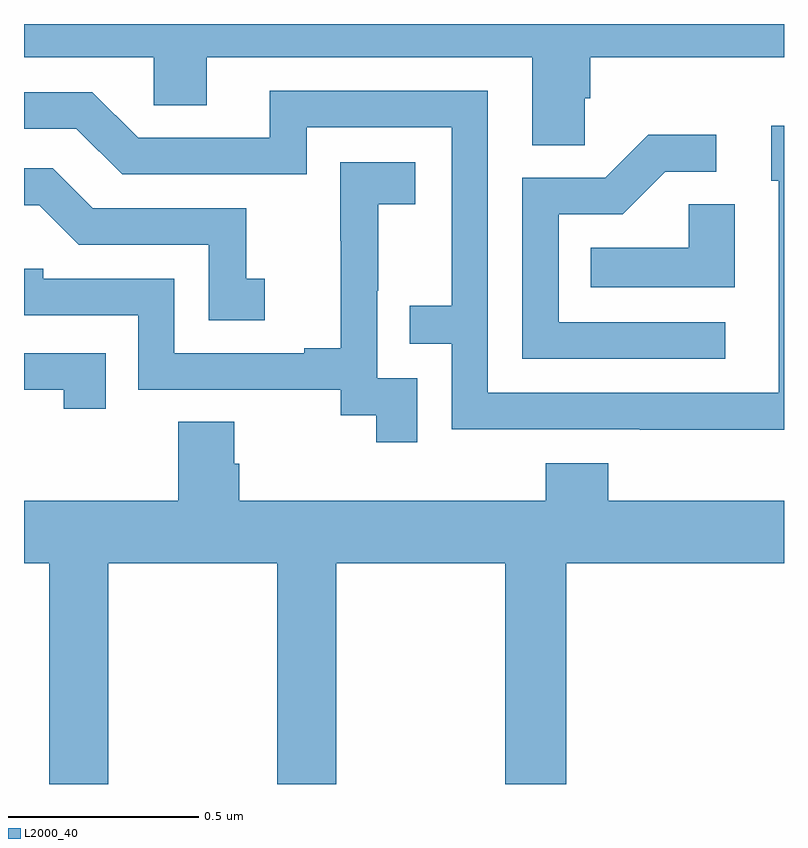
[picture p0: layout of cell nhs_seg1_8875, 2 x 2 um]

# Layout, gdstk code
import gdstk
lib = gdstk.Library(unit=1e-6, precision=1e-09)
def P(c, l, *ps):  # polygons
    for p in ps: c.add(gdstk.Polygon(p, *l))
L2000_40 = (2000, 40)

nhs_seg1_8875 = lib.new_cell('nhs_seg1_8875')
P(nhs_seg1_8875, L2000_40, [(222,505.112),(222.342,505.112),(222.342,504.985),(222.481,504.985),(222.481,505.112),(223.337,505.112),(223.337,504.88),(223.476,504.88),(223.476,505.003),(223.49,505.003),(223.49,505.112),(224,505.112),(224,505.199),(222,505.199)],
  [(224,504.931),(223.967,504.931),(223.967,504.786),(223.986,504.786),(223.986,504.228),(223.221,504.228),(223.221,505.023),(222.647,505.023),(222.647,504.9),(222.3,504.9),(222.18,505.02),(222,505.02),(222,504.924),(222.138,504.924),(222.258,504.804),(222.744,504.804),(222.744,504.927),(223.125,504.927),(223.125,504.458),(223.015,504.458),(223.015,504.357),(223.125,504.357),(223.125,504.132),(223.621,504.132),(223.621,504.131),(224,504.131)],
  [(223.846,504.414),(223.407,504.414),(223.407,504.699),(223.576,504.699),(223.687,504.81),(223.822,504.81),(223.822,504.908),(223.643,504.908),(223.53,504.795),(223.311,504.795),(223.311,504.318),(223.846,504.318)],
  [(223.035,504.267),(222.93,504.267),(222.93,504.497),(222.932,504.497),(222.932,504.725),(223.03,504.725),(223.03,504.835),(222.832,504.835),(222.832,504.629),(222.833,504.629),(222.833,504.346),(222.737,504.346),(222.737,504.333),(222.396,504.333),(222.396,504.528),(222.051,504.528),(222.051,504.555),(222,504.555),(222,504.432),(222.3,504.432),(222.3,504.237),(222.834,504.237),(222.834,504.169),(222.927,504.169),(222.927,504.099),(223.035,504.099)],
  [(222.634,504.529),(222.585,504.529),(222.585,504.714),(222.181,504.714),(222.076,504.819),(222,504.819),(222,504.722),(222.04,504.722),(222.144,504.618),(222.486,504.618),(222.486,504.42),(222.634,504.42)],
  [(223.87,504.725),(223.749,504.725),(223.749,504.61),(223.492,504.61),(223.492,504.506),(223.87,504.506)],
  [(222.215,504.333),(222,504.333),(222,504.237),(222.104,504.237),(222.104,504.186),(222.215,504.186)],
  [(222.222,503.78),(222.667,503.78),(222.667,503.199),(222.822,503.199),(222.822,503.78),(223.267,503.78),(223.267,503.199),(223.427,503.199),(223.427,503.78),(224,503.78),(224,503.944),(223.538,503.944),(223.538,504.043),(223.373,504.043),(223.373,503.944),(222.566,503.944),(222.566,504.042),(222.553,504.042),(222.553,504.152),(222.406,504.152),(222.406,503.944),(222,503.944),(222,503.78),(222.067,503.78),(222.067,503.199),(222.222,503.199)])

lib.write_gds('nhs_seg1_8875.gds')
